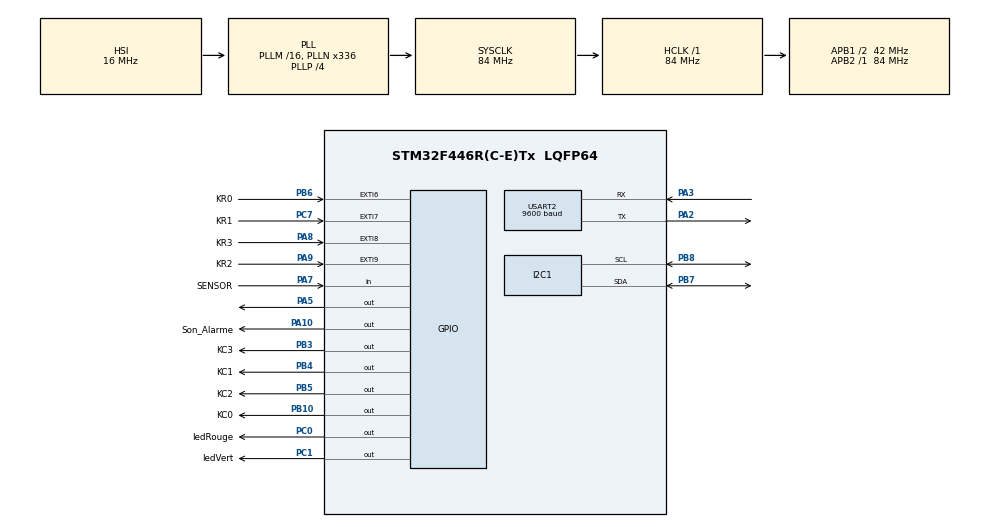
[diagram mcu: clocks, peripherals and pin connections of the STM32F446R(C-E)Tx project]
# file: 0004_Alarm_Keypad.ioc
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I2C1.I2C_Mode=I2C_Fast
Mcu.Family=STM32F4
Mcu.Name=STM32F446R(C-E)Tx
Mcu.Package=LQFP64
NVIC.EXTI9_5_IRQn=true\:0\:0\:false\:false\:true\:true\:true\:true
NVIC.PriorityGroup=NVIC_PRIORITYGROUP_0
NVIC.TIM6_DAC_IRQn=true\:0\:0\:false\:false\:true\:false\:true\:true
NVIC.TimeBase=TIM6_DAC_IRQn
NVIC.TimeBaseIP=TIM6
PA10.GPIO_Label=Son_Alarme
PA10.Signal=GPIO_Output
PA13.Mode=Serial_Wire
PA13.Signal=SYS_JTMS-SWDIO
PA14.Mode=Serial_Wire
PA14.Signal=SYS_JTCK-SWCLK
PA2.Mode=Asynchronous
PA2.Signal=USART2_TX
PA3.Mode=Asynchronous
PA3.Signal=USART2_RX
PA5.Signal=GPIO_Output
PA7.GPIO_Label=SENSOR
PA7.GPIO_PuPd=GPIO_NOPULL
PA7.Signal=GPIO_Input
PA8.GPIO_Label=KR3
PA8.GPIO_ModeDefaultEXTI=GPIO_MODE_IT_RISING_FALLING
PA8.GPIO_PuPd=GPIO_PULLDOWN
PA8.Signal=GPXTI8
PA9.GPIO_Label=KR2
PA9.GPIO_ModeDefaultEXTI=GPIO_MODE_IT_RISING_FALLING
PA9.GPIO_PuPd=GPIO_PULLDOWN
PA9.Signal=GPXTI9
PB10.GPIO_Label=KC0
PB10.GPIO_PuPd=GPIO_NOPULL
PB10.PinState=GPIO_PIN_RESET
PB10.Signal=GPIO_Output
PB3.GPIO_Label=KC3
PB3.Signal=GPIO_Output
PB4.GPIO_Label=KC1
PB4.Signal=GPIO_Output
PB5.GPIO_Label=KC2
PB5.Signal=GPIO_Output
PB6.GPIO_Label=KR0
PB6.GPIO_ModeDefaultEXTI=GPIO_MODE_IT_RISING_FALLING
PB6.GPIO_PuPd=GPIO_PULLDOWN
PB6.Signal=GPXTI6
PB7.Mode=I2C
PB7.Signal=I2C1_SDA
PB8.Mode=I2C
PB8.Signal=I2C1_SCL
PC0.GPIO_Label=ledRouge
PC0.Signal=GPIO_Output
PC1.GPIO_Label=ledVert
PC1.Signal=GPIO_Output
PC14-OSC32_IN.Mode=LSE-External-Oscillator
PC14-OSC32_IN.Signal=RCC_OSC32_IN
PC15-OSC32_OUT.Mode=LSE-External-Oscillator
PC15-OSC32_OUT.Signal=RCC_OSC32_OUT
PC7.GPIO_Label=KR1
PC7.GPIO_ModeDefaultEXTI=GPIO_MODE_IT_RISING_FALLING
PC7.GPIO_PuPd=GPIO_PULLDOWN
PC7.Signal=GPXTI7
PH0-OSC_IN.Mode=HSE-External-Oscillator
PH0-OSC_IN.Signal=RCC_OSC_IN
PH1-OSC_OUT.Mode=HSE-External-Oscillator
PH1-OSC_OUT.Signal=RCC_OSC_OUT
ProjectManager.HeapSize=0x200
ProjectManager.StackSize=0x400
ProjectManager.TargetToolchain=STM32CubeIDE
RCC.48MHZClocksFreq_Value=84000000
RCC.AHBFreq_Value=84000000
RCC.APB1CLKDivider=RCC_HCLK_DIV2
RCC.APB1Freq_Value=42000000
RCC.APB1TimFreq_Value=84000000
RCC.APB2Freq_Value=84000000
RCC.APB2TimFreq_Value=84000000
RCC.CortexFreq_Value=84000000
RCC.FLatency-AdvancedSettings=FLASH_LATENCY_2
RCC.HCLKFreq_Value=84000000
RCC.HSE_VALUE=8000000
RCC.HSI_VALUE=16000000
RCC.PLLN=336
RCC.PLLP=RCC_PLLP_DIV4
RCC.SYSCLKFreq_VALUE=84000000
RCC.SYSCLKSource=RCC_SYSCLKSOURCE_PLLCLK
RCC.USBFreq_Value=168000000
RCC.VCOOutputFreq_Value=336000000
USART2.BaudRate=9600
USART2.VirtualMode=VM_ASYNC
VP_SYS_VS_tim6.Mode=TIM6
board=NUCLEO-F446RE

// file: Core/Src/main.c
/* USER CODE BEGIN Header */
/**
  ******************************************************************************
  * @file           : main.c
  * @brief          : Main program body
  ******************************************************************************
  * @attention
  *
  * Copyright (c) 2024 STMicroelectronics.
  * All rights reserved.
  *
  * This software is licensed under terms that can be found in the LICENSE file
  * in the root directory of this software component.
  * If no LICENSE file comes with this software, it is provided AS-IS.
  *
  ******************************************************************************
  */
/* USER CODE END Header */
#include "main.h"

/* USER CODE BEGIN Includes */
#include "Keypad4X4.h"
#include <stdio.h>
#include <string.h>
#include <stdlib.h>
#include "fonts.h"
#include "ssd1306.h"

/* USER CODE END Includes */

I2C_HandleTypeDef hi2c1;

UART_HandleTypeDef huart2;

/* USER CODE BEGIN PV */
extern char key;
char hold[4];
int flag = 0;

// Green LED on PA5
#define GREEN_LED_PORT GPIOA
#define GREEN_LED_PIN GPIO_PIN_5

// Red LED on PC13
#define RED_LED_PORT GPIOC
#define RED_LED_PIN GPIO_PIN_13
/* USER CODE END PV */

void SystemClock_Config(void);
static void MX_GPIO_Init(void);
static void MX_USART2_UART_Init(void);
static void MX_I2C1_Init(void);

int main(void)
{

  /* MCU Configuration--------------------------------------------------------*/

  /* Reset of all peripherals, Initializes the Flash interface and the Systick. */
  HAL_Init();

  /* Configure the system clock */
  SystemClock_Config();

  /* Initialize all configured peripherals */
  MX_GPIO_Init();
  MX_USART2_UART_Init();
  MX_I2C1_Init();
  /* USER CODE BEGIN 2 */
  /* USER CODE BEGIN 2 */
    SSD1306_Init();
    SSD1306_GotoXY (0,0);
    //SSD1306_Puts ("Voltage:", &Font_11x18, 1);
    SSD1306_Puts ("Enter code:", &Font_11x18, 1);
    SSD1306_GotoXY (0, 30);
    SSD1306_UpdateScreen();
    SSD1306_UpdateScreen();
    HAL_Delay (500);

        HAL_GPIO_WritePin (KC0_GPIO_Port, KC0_Pin, GPIO_PIN_SET);   // Pull the C0 LOW
        		HAL_GPIO_WritePin (KC1_GPIO_Port, KC1_Pin, GPIO_PIN_SET);   // Pull the C1 LOW
        		HAL_GPIO_WritePin (KC2_GPIO_Port, KC2_Pin, GPIO_PIN_SET);   // Pull the C2 LOW
        		HAL_GPIO_WritePin (KC3_GPIO_Port, KC3_Pin, GPIO_PIN_SET);

      SSD1306_GotoXY (0, 30);
      SSD1306_Puts ("4 ou 6?", &Font_11x18, 1);
      SSD1306_UpdateScreen();
      HAL_Delay (500);

  /* USER CODE END 2 */

  /* Infinite loop */
  /* USER CODE BEGIN WHILE */

  int cursor_x = 0;
  int etat = -1;
  int i = 0;
  int passwordLength = 0;
  char motDePasse[7] = "";
  char armMode;
  int timerEcoule = 0;

  volatile uint32_t start_time = 0;

  while (1)
  {
	 /* SSD1306_Init();
	      SSD1306_GotoXY (0,0);
	      //SSD1306_Puts ("Voltage:", &Font_11x18, 1);
	      SSD1306_Puts ("test:", &Font_11x18, 1);
	      SSD1306_GotoXY (0, 30);
	      SSD1306_UpdateScreen();
	      SSD1306_UpdateScreen();
	      HAL_Delay (500);
	  */
    /* USER CODE END WHILE */

    /* USER CODE BEGIN 3 */
	/* D10 to D7 as input pins for row 0 to row 3. D6 to D3 as output for column pins C1 to C3*/
	  //testing*****
	 /* if(flag){
	  	  key = Get_Key();
	  	  sprintf(hold, "%c", key);
	  	  HAL_UART_Transmit(&huart2, (uint8_t *)hold, strlen(hold), 100);
	  	  SSD1306_GotoXY (0, 30);
	  	  SSD1306_UpdateScreen();
	  	  SSD1306_Puts (hold, &Font_11x18, 1);
	  	  SSD1306_UpdateScreen();
	  	  HAL_Delay (500);
	  	  flag = 0;
	  } */

	  /*if(HAL_GPIO_ReadPin(GPIOA, SENSOR_Pin)){
		  start_time = HAL_GetTick();

		  SSD1306_GotoXY(0, 30);
		  	        		  	        		  	        	  // Display the error message
		   SSD1306_Puts("Detecte", &Font_11x18, 1);
		  	        		  	        	  	        	  // Update the screen
		  SSD1306_UpdateScreen();
		  HAL_Delay (500);

		  SSD1306_GotoXY(0, 30);
		  		  	        		  	        		  	        	  // Display the error message
		  		   SSD1306_Puts("            ", &Font_11x18, 1);
		  		  	        		  	        	  	        	  // Update the screen
		  		  SSD1306_UpdateScreen();
		  		  HAL_Delay (500);

		  		while(HAL_GetTick() - start_time <= 10000){

		  		}

		  		HAL_GPIO_WritePin(GPIOA, Son_Alarme_Pin, GPIO_PIN_SET);

		  		    // Wait for 2 seconds
		  		    HAL_Delay(2000);

		  		    // Turn off the buzzer
		  		  HAL_GPIO_WritePin(GPIOA, Son_Alarme_Pin, GPIO_PIN_RESET);

	  }*/

	  if (flag) {
	          //key = Get_Key(); // Get the key pressed

	          if(etat == -1){

	        	  if(key == '4'){
	        		  passwordLength = 4;
	        		  SSD1306_GotoXY(0, 30);
	        		  	        		  	        	  // Display the error message
	        		  SSD1306_Puts("               ", &Font_11x18, 1);
	        		  	        	  	        	  // Update the screen
	        		  SSD1306_UpdateScreen();
	        		  HAL_Delay (500);

	        		  etat = 0;
	        		  flag = 0;

	        	  }
	        	  else if(key == '6'){
	        		  passwordLength = 6;
	        		  SSD1306_GotoXY(0, 30);
	        		  	        		  	        	  // Display the error message
	        		  SSD1306_Puts("               ", &Font_11x18, 1);
	        		  	        	  	        	  // Update the screen
	        		  SSD1306_UpdateScreen();
	        		  HAL_Delay (500);

	        		  etat = 0;
	        		  flag = 0;

	        	  }

	          }
	          else if(etat == 0){
	        	  sprintf(hold, "%c", '*');
	        	  motDePasse[i] = key;
	        	  i++;

	        	  HAL_UART_Transmit(&huart2, (uint8_t *)hold, strlen(hold), 100); // Debug output via UART

	        	  // Display '*' at the current cursor position
	        	  SSD1306_GotoXY(cursor_x, 30); // Set position for the character
	        	  SSD1306_Puts(hold, &Font_11x18, 1);
	        	  SSD1306_UpdateScreen();

	        	  // Increment cursor_x to move to the next position
	        	  cursor_x += 12; // Adjust spacing as needed based on your font width

        	  	  HAL_Delay(500); // Small delay
	        	  flag = 0;       // Reset the flag

	        	  if(i == passwordLength){
	        		  etat = 1;
	        		  i =0;
	        		  cursor_x = 0;
	        	  }

	          }

	          else if(etat == 1){

	        	  SSD1306_GotoXY(0, 30);
	        	  // Display the error message
	        	  SSD1306_Puts("             ", &Font_11x18, 1);
	        	  // Update the screen
	        	  SSD1306_UpdateScreen();
	        	  //HAL_Delay(500);  // Small delay before continuing

	        	  if(key == 'A' || key == 'B'){
	        		  armMode = key;
	        		  etat = 2;
	        	  }
	        	  i = 0;
	        	  flag = 0;
	          }
	          else if(etat == 2){
	        	  sprintf(hold, "%c", key);

	        	  	        	  HAL_UART_Transmit(&huart2, (uint8_t *)hold, strlen(hold), 100); // Debug output via UART

	        	  	        	  // Display '*' at the current cursor position
	        	  	        	  SSD1306_GotoXY(cursor_x, 30); // Set position for the character
	        	  	        	  SSD1306_Puts(hold, &Font_11x18, 1);
	        	  	        	  SSD1306_UpdateScreen();

	        	  	        	  // Increment cursor_x to move to the next position
	        	  	        	  cursor_x += 12; // Adjust spacing as needed based on your font width

	        	          	  	  //HAL_Delay(500); // Small delay
	        	  	        	  //flag = 0;

	        	  if(key != motDePasse[i]){
	        		  etat = 1;
	        		  	  SSD1306_GotoXY (0, 30);
	        		      SSD1306_Puts ("Incorrecte", &Font_11x18, 1);
	        		      SSD1306_UpdateScreen();
	        		      HAL_Delay (500);
	        	  }

	        	  else if(i == (passwordLength -1)){
	        		  etat = 1;
	        		  cursor_x = 0;
	        		  SSD1306_GotoXY (0, 30);

	        		  if(armMode == 'A'){
	        		    SSD1306_Puts ("Arme", &Font_11x18, 1);

	        		    HAL_GPIO_WritePin(GPIOC, ledRouge_Pin, GPIO_PIN_SET);
	        		    HAL_GPIO_WritePin(GPIOC, ledVert_Pin, GPIO_PIN_RESET);

	        		    start_time = HAL_GetTick();

	        		   while(HAL_GetTick() - start_time <= 10000){}

	        		   while(1){

	        		    if(HAL_GPIO_ReadPin(GPIOA, SENSOR_Pin)){
	        		    	HAL_GPIO_WritePin(GPIOA, Son_Alarme_Pin, GPIO_PIN_SET);
	        		    	//timerEcoule = 1;
	        		    	break;
	        		    }
	        		   }

	        		  }
	        		  else if(armMode == 'B'){

	        			  HAL_GPIO_WritePin(GPIOC, ledVert_Pin, GPIO_PIN_SET);
	        			  HAL_GPIO_WritePin(GPIOC, ledRouge_Pin, GPIO_PIN_RESET);
	        			  HAL_GPIO_WritePin(GPIOA, Son_Alarme_Pin, GPIO_PIN_RESET);
	        			  SSD1306_Puts ("Desarme", &Font_11x18, 1);

	        		  }
	        	  }
	        	  SSD1306_UpdateScreen();
	              HAL_Delay (500);
	        	  i++;
	        	  flag = 0;

	          }
	          else if(etat == 3){

	          }
	          else{

	        	  sprintf(hold, "%c", key);

	        	  	          HAL_UART_Transmit(&huart2, (uint8_t *)hold, strlen(hold), 100); // Debug output via UART

	        	  	          // Display the key at the current cursor position
	        	  	          SSD1306_GotoXY(cursor_x, 30); // Set position for the character
	        	  	          SSD1306_Puts(hold, &Font_11x18, 1);
	        	  	          SSD1306_UpdateScreen();

	        	  	          // Move cursor to the right for the next character
	        	  	          cursor_x += 11; // Advance by character width
	        	  	          if (cursor_x >= 128) { // Reset position if at the end of the line
	        	  	              cursor_x = 0; // Start from the left again
	        	  	              SSD1306_Clear(); // Clear the screen
	        	  	          }

	        	  	          HAL_Delay(500); // Small delay
	        	  	          flag = 0;       // Reset the flag

	          }

	      }

	     //test
  }
  /* USER CODE END 3 */
}

void SystemClock_Config(void)
{
  RCC_OscInitTypeDef RCC_OscInitStruct = {0};
  RCC_ClkInitTypeDef RCC_ClkInitStruct = {0};

  /** Configure the main internal regulator output voltage
  */
  __HAL_RCC_PWR_CLK_ENABLE();
  __HAL_PWR_VOLTAGESCALING_CONFIG(PWR_REGULATOR_VOLTAGE_SCALE3);

  /** Initializes the RCC Oscillators according to the specified parameters
  * in the RCC_OscInitTypeDef structure.
  */
  RCC_OscInitStruct.OscillatorType = RCC_OSCILLATORTYPE_HSI;
  RCC_OscInitStruct.HSIState = RCC_HSI_ON;
  RCC_OscInitStruct.HSICalibrationValue = RCC_HSICALIBRATION_DEFAULT;
  RCC_OscInitStruct.PLL.PLLState = RCC_PLL_ON;
  RCC_OscInitStruct.PLL.PLLSource = RCC_PLLSOURCE_HSI;
  RCC_OscInitStruct.PLL.PLLM = 16;
  RCC_OscInitStruct.PLL.PLLN = 336;
  RCC_OscInitStruct.PLL.PLLP = RCC_PLLP_DIV4;
  RCC_OscInitStruct.PLL.PLLQ = 2;
  RCC_OscInitStruct.PLL.PLLR = 2;
  if (HAL_RCC_OscConfig(&RCC_OscInitStruct) != HAL_OK)
  {
    Error_Handler();
  }

  /** Initializes the CPU, AHB and APB buses clocks
  */
  RCC_ClkInitStruct.ClockType = RCC_CLOCKTYPE_HCLK|RCC_CLOCKTYPE_SYSCLK
                              |RCC_CLOCKTYPE_PCLK1|RCC_CLOCKTYPE_PCLK2;
  RCC_ClkInitStruct.SYSCLKSource = RCC_SYSCLKSOURCE_PLLCLK;
  RCC_ClkInitStruct.AHBCLKDivider = RCC_SYSCLK_DIV1;
  RCC_ClkInitStruct.APB1CLKDivider = RCC_HCLK_DIV2;
  RCC_ClkInitStruct.APB2CLKDivider = RCC_HCLK_DIV1;

  if (HAL_RCC_ClockConfig(&RCC_ClkInitStruct, FLASH_LATENCY_2) != HAL_OK)
  {
    Error_Handler();
  }
}

static void MX_I2C1_Init(void)
{

  hi2c1.Instance = I2C1;
  hi2c1.Init.ClockSpeed = 400000;
  hi2c1.Init.DutyCycle = I2C_DUTYCYCLE_2;
  hi2c1.Init.OwnAddress1 = 0;
  hi2c1.Init.AddressingMode = I2C_ADDRESSINGMODE_7BIT;
  hi2c1.Init.DualAddressMode = I2C_DUALADDRESS_DISABLE;
  hi2c1.Init.OwnAddress2 = 0;
  hi2c1.Init.GeneralCallMode = I2C_GENERALCALL_DISABLE;
  hi2c1.Init.NoStretchMode = I2C_NOSTRETCH_DISABLE;
  if (HAL_I2C_Init(&hi2c1) != HAL_OK)
  {
    Error_Handler();
  }

}

static void MX_USART2_UART_Init(void)
{

  huart2.Instance = USART2;
  huart2.Init.BaudRate = 9600;
  huart2.Init.WordLength = UART_WORDLENGTH_8B;
  huart2.Init.StopBits = UART_STOPBITS_1;
  huart2.Init.Parity = UART_PARITY_NONE;
  huart2.Init.Mode = UART_MODE_TX_RX;
  huart2.Init.HwFlowCtl = UART_HWCONTROL_NONE;
  huart2.Init.OverSampling = UART_OVERSAMPLING_16;
  if (HAL_UART_Init(&huart2) != HAL_OK)
  {
    Error_Handler();
  }

}

static void MX_GPIO_Init(void)
{
  GPIO_InitTypeDef GPIO_InitStruct = {0};

  /* GPIO Ports Clock Enable */
  __HAL_RCC_GPIOC_CLK_ENABLE();
  __HAL_RCC_GPIOH_CLK_ENABLE();
  __HAL_RCC_GPIOA_CLK_ENABLE();
  __HAL_RCC_GPIOB_CLK_ENABLE();

  /*Configure GPIO pin Output Level */
  HAL_GPIO_WritePin(GPIOC, ledRouge_Pin|ledVert_Pin, GPIO_PIN_RESET);

  /*Configure GPIO pin Output Level */
  HAL_GPIO_WritePin(GPIOA, GPIO_PIN_5|Son_Alarme_Pin, GPIO_PIN_RESET);

  /*Configure GPIO pin Output Level */
  HAL_GPIO_WritePin(GPIOB, KC0_Pin|KC3_Pin|KC1_Pin|KC2_Pin, GPIO_PIN_RESET);

  /*Configure GPIO pins : ledRouge_Pin ledVert_Pin */
  GPIO_InitStruct.Pin = ledRouge_Pin|ledVert_Pin;
  GPIO_InitStruct.Mode = GPIO_MODE_OUTPUT_PP;
  GPIO_InitStruct.Pull = GPIO_NOPULL;
  GPIO_InitStruct.Speed = GPIO_SPEED_FREQ_LOW;
  HAL_GPIO_Init(GPIOC, &GPIO_InitStruct);

  /*Configure GPIO pins : PA5 Son_Alarme_Pin */
  GPIO_InitStruct.Pin = GPIO_PIN_5|Son_Alarme_Pin;
  GPIO_InitStruct.Mode = GPIO_MODE_OUTPUT_PP;
  GPIO_InitStruct.Pull = GPIO_NOPULL;
  GPIO_InitStruct.Speed = GPIO_SPEED_FREQ_LOW;
  HAL_GPIO_Init(GPIOA, &GPIO_InitStruct);

  /*Configure GPIO pin : SENSOR_Pin */
  GPIO_InitStruct.Pin = SENSOR_Pin;
  GPIO_InitStruct.Mode = GPIO_MODE_INPUT;
  GPIO_InitStruct.Pull = GPIO_NOPULL;
  HAL_GPIO_Init(SENSOR_GPIO_Port, &GPIO_InitStruct);

  /*Configure GPIO pins : KC0_Pin KC3_Pin KC1_Pin KC2_Pin */
  GPIO_InitStruct.Pin = KC0_Pin|KC3_Pin|KC1_Pin|KC2_Pin;
  GPIO_InitStruct.Mode = GPIO_MODE_OUTPUT_PP;
  GPIO_InitStruct.Pull = GPIO_NOPULL;
  GPIO_InitStruct.Speed = GPIO_SPEED_FREQ_LOW;
  HAL_GPIO_Init(GPIOB, &GPIO_InitStruct);

  /*Configure GPIO pin : KR1_Pin */
  GPIO_InitStruct.Pin = KR1_Pin;
  GPIO_InitStruct.Mode = GPIO_MODE_IT_RISING_FALLING;
  GPIO_InitStruct.Pull = GPIO_PULLDOWN;
  HAL_GPIO_Init(KR1_GPIO_Port, &GPIO_InitStruct);

  /*Configure GPIO pins : KR3_Pin KR2_Pin */
  GPIO_InitStruct.Pin = KR3_Pin|KR2_Pin;
  GPIO_InitStruct.Mode = GPIO_MODE_IT_RISING_FALLING;
  GPIO_InitStruct.Pull = GPIO_PULLDOWN;
  HAL_GPIO_Init(GPIOA, &GPIO_InitStruct);

  /*Configure GPIO pin : KR0_Pin */
  GPIO_InitStruct.Pin = KR0_Pin;
  GPIO_InitStruct.Mode = GPIO_MODE_IT_RISING_FALLING;
  GPIO_InitStruct.Pull = GPIO_PULLDOWN;
  HAL_GPIO_Init(KR0_GPIO_Port, &GPIO_InitStruct);

  /* EXTI interrupt init*/
  HAL_NVIC_SetPriority(EXTI9_5_IRQn, 0, 0);
  HAL_NVIC_EnableIRQ(EXTI9_5_IRQn);

}

/* USER CODE BEGIN 4 */
void HAL_GPIO_EXTI_Callback(uint16_t GPIO_Pin)
{
	flag = 1;

	if (GPIO_Pin == KR0_Pin || GPIO_Pin == KR1_Pin || GPIO_Pin == KR2_Pin || GPIO_Pin == KR3_Pin) {
	        //COLUMN 3
		HAL_GPIO_WritePin (KC0_GPIO_Port, KC0_Pin, GPIO_PIN_SET);     // Pull the C0 HIGH
		HAL_GPIO_WritePin (KC1_GPIO_Port, KC1_Pin, GPIO_PIN_RESET);   // Pull the C1 LOW
		HAL_GPIO_WritePin (KC2_GPIO_Port, KC2_Pin, GPIO_PIN_RESET);   // Pull the C2 LOW
		HAL_GPIO_WritePin (KC3_GPIO_Port, KC3_Pin, GPIO_PIN_RESET);   // Pull the C3 LOW

	        if (HAL_GPIO_ReadPin(KR0_GPIO_Port, KR0_Pin)){
	        	key = '1';
	        }
	        else if (HAL_GPIO_ReadPin(KR1_GPIO_Port, KR1_Pin)){
	        	key = '4';
	        }
	        else if (HAL_GPIO_ReadPin(KR2_GPIO_Port, KR2_Pin)){
	        	key = '7';
	        }
	        else if (HAL_GPIO_ReadPin(KR3_GPIO_Port, KR3_Pin)){
	        	key = '*';
	        }

	        //COLUMN 2
	        	HAL_GPIO_WritePin (KC0_GPIO_Port, KC0_Pin, GPIO_PIN_RESET);   // Pull the C0 LOW
	        	HAL_GPIO_WritePin (KC1_GPIO_Port, KC1_Pin, GPIO_PIN_SET);     // Pull the C1 HIGH
	        	HAL_GPIO_WritePin (KC2_GPIO_Port, KC2_Pin, GPIO_PIN_RESET);   // Pull the C2 LOW
	        	HAL_GPIO_WritePin (KC3_GPIO_Port, KC3_Pin, GPIO_PIN_RESET);   // Pull the C3 LOW

	        if (HAL_GPIO_ReadPin(KR0_GPIO_Port, KR0_Pin)){
	        	key = '2';
	        }
	        else if (HAL_GPIO_ReadPin(KR1_GPIO_Port, KR1_Pin)){
	        	key = '5';
	        }
	        else if (HAL_GPIO_ReadPin(KR2_GPIO_Port, KR2_Pin)){
	        	key = '8';
	        }
	        else if (HAL_GPIO_ReadPin(KR3_GPIO_Port, KR3_Pin)){
	        	key = '0';
	        }

	        //COLUMN 1
	        	HAL_GPIO_WritePin (KC0_GPIO_Port, KC0_Pin, GPIO_PIN_RESET);  // Pull the C0 LOW
	        	HAL_GPIO_WritePin (KC1_GPIO_Port, KC1_Pin, GPIO_PIN_RESET);  // Pull the C1 LOW
	        	HAL_GPIO_WritePin (KC2_GPIO_Port, KC2_Pin, GPIO_PIN_SET);    // Pull the C2 HIGH
	        	HAL_GPIO_WritePin (KC3_GPIO_Port, KC3_Pin, GPIO_PIN_RESET);  // Pull the C3 LOW

	        if (HAL_GPIO_ReadPin(KR0_GPIO_Port, KR0_Pin)){
	        	key = '3';
	        }
	        else if (HAL_GPIO_ReadPin(KR1_GPIO_Port, KR1_Pin)){
	        	key = '6';
	        }
	        else if (HAL_GPIO_ReadPin(KR2_GPIO_Port, KR2_Pin)){
	        	key = '9';

	        }
	        else if (HAL_GPIO_ReadPin(KR3_GPIO_Port, KR3_Pin)){
	        	key = '#';
	        }

	        //COLUMN 0
	        	HAL_GPIO_WritePin (KC0_GPIO_Port, KC0_Pin, GPIO_PIN_RESET);   // Pull the C0 LOW
	        	HAL_GPIO_WritePin (KC1_GPIO_Port, KC1_Pin, GPIO_PIN_RESET);   // Pull the C1 LOW
	        	HAL_GPIO_WritePin (KC2_GPIO_Port, KC2_Pin, GPIO_PIN_RESET);   // Pull the C2 LOW
	        	HAL_GPIO_WritePin (KC3_GPIO_Port, KC3_Pin, GPIO_PIN_SET);     // Pull the C3 HIGH

	        if (HAL_GPIO_ReadPin(KR0_GPIO_Port, KR0_Pin)){
	        	key = 'A';
	        }
	        else if (HAL_GPIO_ReadPin(KR1_GPIO_Port, KR1_Pin)){
	        	key = 'B';
	        }
	        else if (HAL_GPIO_ReadPin(KR2_GPIO_Port, KR2_Pin)){
	        	key = 'C';
	        }
	        else if (HAL_GPIO_ReadPin(KR3_GPIO_Port, KR3_Pin)){
	        	key = 'D';
	        }

	        HAL_GPIO_WritePin (KC0_GPIO_Port, KC0_Pin, GPIO_PIN_SET);   // Pull the C0 LOW
	        		HAL_GPIO_WritePin (KC1_GPIO_Port, KC1_Pin, GPIO_PIN_SET);   // Pull the C1 LOW
	        		HAL_GPIO_WritePin (KC2_GPIO_Port, KC2_Pin, GPIO_PIN_SET);   // Pull the C2 LOW
	        		HAL_GPIO_WritePin (KC3_GPIO_Port, KC3_Pin, GPIO_PIN_SET);

	    }

  /* Prevent unused argument(s) compilation warning */
  //UNUSED(GPIO_Pin);
  /* NOTE: This function Should not be modified, when the callback is needed,
           the HAL_GPIO_EXTI_Callback could be implemented in the user file
   */

  /*if(GPIO_Pin == KR0_Pin && (HAL_GPIO_ReadPin (KC0_GPIO_Port, KC0_Pin))){ //&& (HAL_GPIO_ReadPin (KC0_GPIO_Port, KC0_Pin))
	  key = '1';
  }*/

	/*if(GPIO_Pin == KR0_Pin){

		if ((HAL_GPIO_ReadPin (KC0_GPIO_Port, KC0_Pin)))   // if R0 is HIGH
				{
					key = '1';
				}
		else if ((HAL_GPIO_ReadPin (KC1_GPIO_Port, KC1_Pin)))   // if R0 is HIGH
						{
							key = '4';
						}
		else if ((HAL_GPIO_ReadPin (KC2_GPIO_Port, KC2_Pin)))   // if R0 is HIGH
								{
									key = '7';
								}
		else if ((HAL_GPIO_ReadPin (KC3_GPIO_Port, KC3_Pin)))   // if R0 is HIGH
										{
											key = '*';
										}
		//key = '1';
	}*/
	/*else if(GPIO_Pin == KR1_Pin){
		if ((HAL_GPIO_ReadPin (KC0_GPIO_Port, KC0_Pin)))   // if R0 is HIGH
				{
					key = '2';
				}
		else if ((HAL_GPIO_ReadPin (KC1_GPIO_Port, KC1_Pin)))   // if R0 is HIGH
				{
				         key = '5';
				}
		else if ((HAL_GPIO_ReadPin (KC2_GPIO_Port, KC2_Pin)))   // if R0 is HIGH
				{
			key = '8';
										}
		else if ((HAL_GPIO_ReadPin (KC3_GPIO_Port, KC3_Pin)))   // if R0 is HIGH
				{
				key = '0';
				}
	}
	else if(GPIO_Pin == KR2_Pin){
			if ((HAL_GPIO_ReadPin (KC0_GPIO_Port, KC0_Pin)))   // if R0 is HIGH
					{
						key = '3';
					}
			else if ((HAL_GPIO_ReadPin (KC1_GPIO_Port, KC1_Pin)))   // if R0 is HIGH
							{
								key = '6';
							}
			else if ((HAL_GPIO_ReadPin (KC2_GPIO_Port, KC2_Pin)))   // if R0 is HIGH
									{
										key = '9';
									}
			else if ((HAL_GPIO_ReadPin (KC3_GPIO_Port, KC3_Pin)))   // if R0 is HIGH
											{
												key = '#';
											}
		}
	else if (GPIO_Pin == KR3_Pin){
			if ((HAL_GPIO_ReadPin (KC0_GPIO_Port, KC0_Pin)))   // if R0 is HIGH
					{
						key = 'A';
					}
			else if ((HAL_GPIO_ReadPin (KC1_GPIO_Port, KC1_Pin)))   // if R0 is HIGH
							{
								key = 'B';
							}
			else if ((HAL_GPIO_ReadPin (KC2_GPIO_Port, KC2_Pin)))   // if R0 is HIGH
									{
										key = 'C';
									}
			else if ((HAL_GPIO_ReadPin (KC3_GPIO_Port, KC3_Pin)))   // if R0 is HIGH
											{
												key = 'D';
											}
		}*/
}

/* USER CODE END 4 */

void HAL_TIM_PeriodElapsedCallback(TIM_HandleTypeDef *htim)
{
  if (htim->Instance == TIM6) {
    HAL_IncTick();
  }
}

void Error_Handler(void)
{
  __disable_irq();
  while (1)
  {
  }
}
